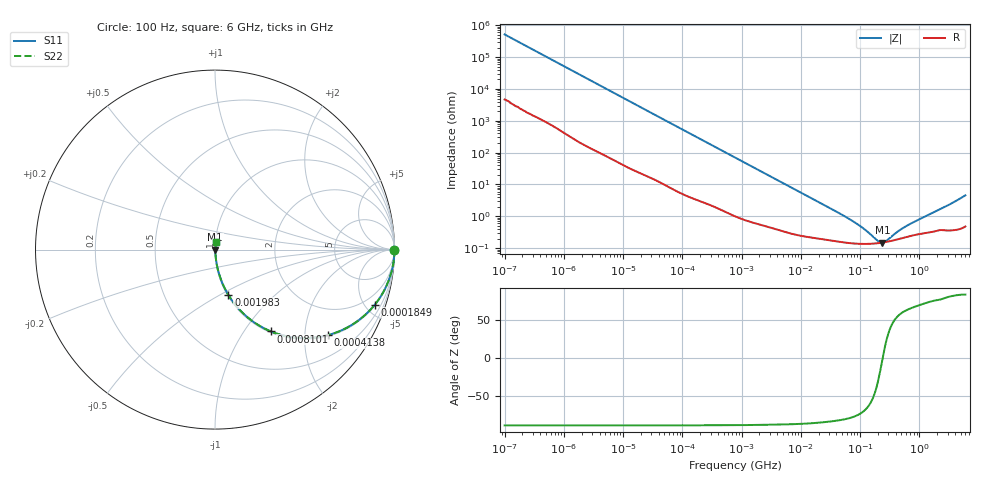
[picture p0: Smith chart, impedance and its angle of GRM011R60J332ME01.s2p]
!Murata Part Number: GRM011R60J332ME01
!These Parameters are Measured in Series Mode Connection
!Data Generated on Mar 30, 2021
!  o--ll--o
!Port1  Port2
!  o------o
!Operation Temp=25[degC], DC Bias Voltage=0[V]
!Freq. Start=100[Hz] Stop=6[GHz] 401[Steps]
# Hz S RI R 50
!Freq.(Hz) S11(Real) S11(Imag) S21(Real) S21(Imag) S12(Real) S12(Imag) S22(Real) S22(Imag)
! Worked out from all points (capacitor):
!   401 points, 100 Hz to 6 GHz, reference 50 ohm
!   read as one part in series: C = 3.09 nF near 109 Hz
!   lowest |Z| = 149 mohm at 238.8 MHz (marker M1)
!   series resonance near 241.1 MHz, so ESL is about 140 pH
!   S11 on the Smith chart (normalised r, x): 100 Hz: open; 184.9 kHz: 1.06, -5.79; 413.8 kHz: 1.03, -2.60; 810.1 kHz: 1.02, -1.34; 1.983 MHz: 1.01, -0.55; 6 GHz: 1.01, +0.09
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100  1 -0.000194  1.8e-06 0.000194  1.8e-06 0.000194  1 -0.000194
2008  1 -0.00384  4.27e-05 0.00384  4.27e-05 0.00384  1 -0.00384
12592  0.9992 -0.0239  0.000756 0.0239  0.000756 0.0239  0.9992 -0.0239
40335  0.9936 -0.0755  0.00643 0.0755  0.00643 0.0755  0.9936 -0.0755
90302  0.9707 -0.1642  0.0293 0.1642  0.0293 0.1642  0.9707 -0.1642
184852  0.8907 -0.3066  0.1093 0.3066  0.1093 0.3066  0.8907 -0.3066
276587  0.7872 -0.4032  0.2128 0.4032  0.2128 0.4032  0.7872 -0.4032
413847  0.627 -0.4771  0.373 0.4771  0.373 0.4771  0.627 -0.4771
774597  0.3301 -0.4632  0.6699 0.4632  0.6699 0.4632  0.3301 -0.4632
810067  0.3111 -0.4558  0.6889 0.4558  0.6889 0.4558  0.3111 -0.4558
1267578  0.159 -0.3575  0.841 0.3575  0.841 0.3575  0.159 -0.3575
1983483  0.0745 -0.2527  0.9255 0.2527  0.9255 0.2527  0.0745 -0.2527
4856642  0.0159 -0.1111  0.9841 0.1111  0.9841 0.1111  0.0159 -0.1111
1.555665e7  0.00339 -0.0355  0.9966 0.0355  0.9966 0.0355  0.00339 -0.0355
7.455971e7  0.00145 -0.00698  0.9985 0.00698  0.9985 0.00698  0.00145 -0.00698
1.166697e8  0.00137 -0.00378  0.9986 0.00378  0.9986 0.00378  0.00137 -0.00378
1.996653e8  0.00143 -0.000892  0.9986 0.000892  0.9986 0.000892  0.00143 -0.000892
2.388273e8  0.00149 -4.38e-05  0.9985 4.38e-05  0.9985 4.38e-05  0.00149 -4.38e-05
3.124326e8  0.00163 0.0012  0.9984 -0.0012  0.9984 -0.0012  0.00163 0.0012
4.470121e8  0.00193 0.00287  0.9981 -0.00287  0.9981 -0.00287  0.00193 0.00287
6.395615e8  0.00231 0.0047  0.9977 -0.0047  0.9977 -0.0047  0.00231 0.0047
6e9  0.0068 0.0448  0.9932 -0.0448  0.9932 -0.0448  0.0068 0.0448
